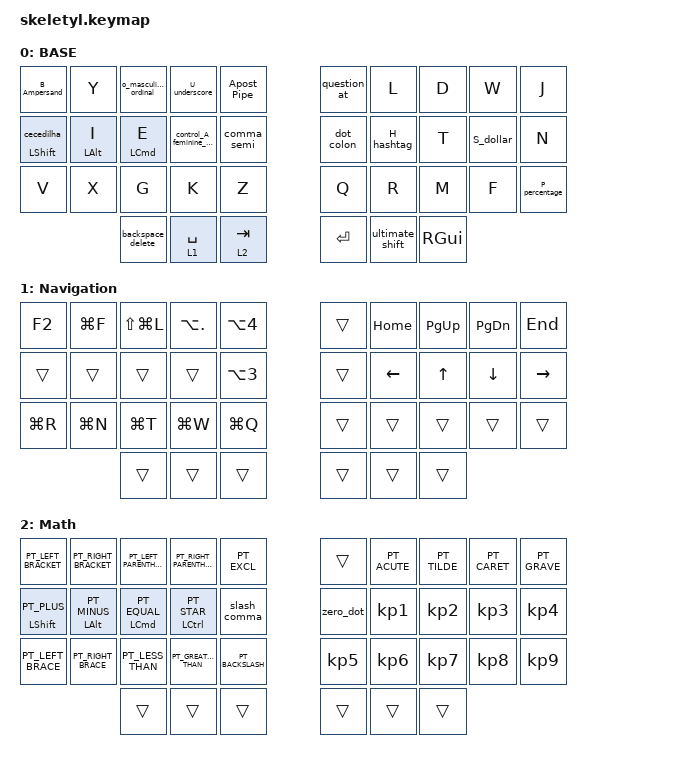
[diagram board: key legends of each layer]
#include "keys_pt_abnt2.h"
#include <behaviors.dtsi>
#include <dt-bindings/zmk/keys.h>

&sk {
    release-after-ms = <1500>;
    quick-release;
};

/ {
    behaviors {
        hm: homerow_mods {
            compatible = "zmk,behavior-hold-tap";
            label = "HOMEROW_MODS";
            #binding-cells = <2>;
            tapping-term-ms = <280>;
            quick_tap_ms = <0>;
            flavor = "balanced";
            bindings = <&kp>, <&kp>;

            quick-tap-ms = <175>;
            require-prior-idle-ms = <150>;
            hold-trigger-key-positions = <20 10 30 31 32 5 6 7 8 9 15 16 17 18 19 25 26 27 28 29 33 34 35>;
            hold-trigger-on-release;
        };

        cecedilha: cecedilha {
            compatible = "zmk,behavior-mod-morph";
            label = "CECEDILHA";
            bindings = <&kp C>, <&kp PT_C_CEDILLA>;

            #binding-cells = <0>;
            mods = <(MOD_LALT)>;
        };

        question_at: question_at {
            compatible = "zmk,behavior-mod-morph";
            label = "QUESTION_AT";
            bindings = <&kp PT_QUESTION>, <&kp PT_AT>;

            #binding-cells = <0>;
            mods = <(MOD_LSFT|MOD_RSFT)>;
        };

        dot_colon: dot_colon {
            compatible = "zmk,behavior-mod-morph";
            label = "DOT_COLON";
            bindings = <&kp PT_DOT>, <&kp PT_COLON>;

            #binding-cells = <0>;
            mods = <(MOD_LSFT|MOD_RSFT)>;
        };

        o_masculine_ordinal: o_masculine_ordinal {
            compatible = "zmk,behavior-mod-morph";
            label = "O_MASCULINE_ORDINAL";
            bindings = <&kp PT_O>, <&kp PT_MASCULINE_ORDINAL_INDICATOR>;

            #binding-cells = <0>;
            mods = <(MOD_LALT)>;
        };

        control_A_feminine_ordinal: control_A_feminine_ordinal {
            compatible = "zmk,behavior-mod-morph";
            label = "CONTROL_A_FEMININE_ORDINAL";
            bindings =
                <&hm LEFT_CONTROL PT_A>,
                <&kp PT_FEMININE_ORDINAL_INDICATOR>;

            #binding-cells = <0>;
            mods = <(MOD_LALT)>;
        };

        backspace_delete: backspace_delete {
            compatible = "zmk,behavior-mod-morph";
            label = "BACKSPACE_DELETE";
            bindings = <&kp BACKSPACE>, <&kp DELETE>;

            #binding-cells = <0>;
            mods = <(MOD_LCTL)>;
        };

        comma_semi: comma_semi {
            compatible = "zmk,behavior-mod-morph";
            label = "COMMA_SEMI";
            bindings = <&kp PT_COMMA>, <&kp PT_SEMICOLON>;

            #binding-cells = <0>;
            mods = <(MOD_LSFT|MOD_RSFT)>;
        };

        P_percentage: P_percentage {
            compatible = "zmk,behavior-mod-morph";
            label = "P_PERCENTAGE";
            bindings = <&kp P>, <&kp PT_PERCENT>;

            #binding-cells = <0>;
            mods = <(MOD_LALT)>;
        };

        B_Ampersand: B_Ampersand {
            compatible = "zmk,behavior-mod-morph";
            label = "B_AMPERSAND";
            bindings = <&kp B>, <&kp PT_AMPERSAND>;

            #binding-cells = <0>;
            mods = <(MOD_LALT)>;
        };

        U_underscore: U_underscore {
            compatible = "zmk,behavior-mod-morph";
            label = "U_UNDERSCORE";
            bindings = <&kp U>, <&kp PT_UNDERSCORE>;

            #binding-cells = <0>;
            mods = <(MOD_LALT)>;
        };

        shift_C_Cecedilha: shift_C_Cecedilha {
            compatible = "zmk,behavior-hold-tap";
            label = "SHIFT_C_CECEDILHA";
            bindings = <&kp>, <&cecedilha>;

            #binding-cells = <2>;
            tapping-term-ms = <280>;
            quick-tap-ms = <175>;
            require-prior-idle-ms = <150>;
            flavor = "balanced";
            hold-trigger-key-positions = <5 6 7 8 9 15 16 17 18 19 25 26 27 28 29 33 34 35>;
            hold-trigger-on-release;
        };

        ultimate_shift: ultimate_shift {
            compatible = "zmk,behavior-tap-dance";
            label = "ULTIMATE_SHIFT";
            #binding-cells = <0>;
            tapping-term-ms = <180>;
            bindings = <&sk LEFT_SHIFT>, <&caps_word>, <&kp CAPSLOCK>;
        };

        H_hashtag: H_hashtag {
            compatible = "zmk,behavior-mod-morph";
            label = "H_HASHTAG";
            bindings = <&kp H>, <&kp PT_HASH>;

            #binding-cells = <0>;
            mods = <(MOD_LALT)>;
        };

        S_dollar: S_dollar {
            compatible = "zmk,behavior-mod-morph";
            label = "S_DOLLAR";
            bindings = <&kp S>, <&kp PT_DOLLAR>;

            #binding-cells = <0>;
            mods = <(MOD_LALT)>;
        };

        Apost_Pipe: Apost_Pipe {
            compatible = "zmk,behavior-mod-morph";
            label = "APOST_PIPE";
            bindings = <&kp PT_APOS>, <&kp PT_PIPE>;

            #binding-cells = <0>;
            mods = <(MOD_LALT)>;
        };

        slash_comma: slash_comma {
            compatible = "zmk,behavior-mod-morph";
            label = "SLASH_COMMA";
            bindings = <&kp KP_SLASH>, <&kp KP_COMMA>;

            #binding-cells = <0>;
            mods = <(MOD_LSFT|MOD_RSFT)>;
        };

        zero_dot: zero_dot {
            compatible = "zmk,behavior-mod-morph";
            label = "ZERO_DOT";
            bindings = <&kp KP_NUMBER_0>, <&kp KP_DOT>;

            #binding-cells = <0>;
            mods = <(MOD_LSFT|MOD_RSFT)>;
        };
    };

    conditional_layers { compatible = "zmk,conditional-layers"; };

    combos {
        compatible = "zmk,combos";

        esc {
            bindings = <&kp ESC>;
            key-positions = <21 20>;
            layers = <0>;
        };

        enter {
            bindings = <&kp ENTER>;
            key-positions = <23 24>;
            layers = <0>;
        };

        to_layer1 {
            bindings = <&to 1>;
            key-positions = <31 33>;
            layers = <0>;
        };

        to_layer2 {
            bindings = <&to 2>;
            key-positions = <33 32>;
            layers = <0>;
        };

        back_to_base1 {
            bindings = <&to 0>;
            key-positions = <31 33>;
            layers = <1>;
        };

        back_to_base2 {
            bindings = <&to 0>;
            key-positions = <33 32>;
            layers = <2>;
        };

        ksc_the {
            bindings = <&m_ksc_the>;
            key-positions = <17 16 12>;
            layers = <0>;
        };

        ksc_the_space {
            bindings = <&m_ksc_the_space>;
            key-positions = <17 16 12 31>;
            layers = <0>;
        };

        ksc_ing {
            bindings = <&m_ksc_ing>;
            key-positions = <11 19 22>;
            layers = <0>;
        };

        ksc_th {
            bindings = <&m_ksc_th>;
            key-positions = <17 16>;
            layers = <0>;
        };

        ksc_ou {
            bindings = <&m_ksc_ou>;
            key-positions = <2 3>;
            layers = <0>;
        };

        ksc_gh {
            bindings = <&m_ksc_gh>;
            key-positions = <22 16>;
            layers = <0>;
        };

        ksc_wh {
            bindings = <&m_ksc_wh>;
            key-positions = <16 8>;
            layers = <0>;
        };

        ksc_sh {
            bindings = <&m_ksc_sh>;
            key-positions = <16 18>;
            layers = <0>;
        };

        ksc_men {
            bindings = <&m_ksc_men>;
            key-positions = <18 27 12>;
            layers = <0>;
        };

        ksc_ould {
            bindings = <&m_ksc_ould>;
            key-positions = <2 3 6 7>;
            layers = <0>;
        };

        ksc_ight {
            bindings = <&m_ksc_ight>;
            key-positions = <11 22 16 17>;
            layers = <0>;
        };

        ksc_with {
            bindings = <&m_ksc_with>;
            key-positions = <11 16 17 8>;
            layers = <0>;
        };

        ksc_atio {
            bindings = <&m_ksc_atio>;
            key-positions = <11 17 13 2>;
            layers = <0>;
        };

        ksc_tion {
            bindings = <&m_ksc_tion>;
            key-positions = <11 17 2 19>;
            layers = <0>;
        };

        ksc_ent {
            bindings = <&m_ksc_ent>;
            key-positions = <17 19 12>;
            layers = <0>;
        };

        ksc_and {
            bindings = <&m_ksc_and>;
            key-positions = <19 13 7>;
            layers = <0>;
        };

        ksc_st {
            bindings = <&m_ksc_st>;
            key-positions = <18 17>;
            layers = <0>;
        };

        ksc_in {
            bindings = <&m_ksc_in>;
            key-positions = <11 19>;
            layers = <0>;
        };

        ksc_enc {
            bindings = <&m_ksc_enc>;
            key-positions = <19 12 10>;
            layers = <0>;
        };

        ksc_for {
            bindings = <&m_ksc_for>;
            key-positions = <26 28 2>;
            layers = <0>;
        };

        ksc_tha {
            bindings = <&m_ksc_tha>;
            key-positions = <17 16 13>;
            layers = <0>;
        };

        ksc_thi {
            bindings = <&m_ksc_thi>;
            key-positions = <17 16 11>;
            layers = <0>;
        };

        ksc_ter {
            bindings = <&m_ksc_ter>;
            key-positions = <17 26 12>;
            layers = <0>;
        };

        ksc_ld {
            bindings = <&m_ksc_ld>;
            key-positions = <6 7>;
            layers = <0>;
        };

        ksc_download {
            bindings = <&m_ksc_download>;
            key-positions = <19 6 7 8>;
            layers = <0>;
        };

        ksc_cao {
            bindings = <&m_skc_cao>;
            key-positions = <10 2 13 11>;
            layers = <0>;
        };

        ksc_coes {
            bindings = <&m_ksc_coes>;
            key-positions = <10 11 2 18>;
            layers = <0>;
        };

        ksc_nao {
            bindings = <&m_ksc_nao>;
            key-positions = <2 19 13>;
            layers = <0>;
        };

        ksc_que {
            bindings = <&m_ksc_que>;
            key-positions = <25 12>;
            layers = <0>;
        };

        ksc_qua {
            bindings = <&m_ks_qua>;
            key-positions = <25 13>;
            layers = <0>;
        };

        ksc_qui {
            bindings = <&m_ksc_qui>;
            key-positions = <25 11>;
            layers = <0>;
        };

        ksc_you {
            bindings = <&m_ksc_you>;
            key-positions = <1 2 3>;
            layers = <0>;
        };

        ksc_ion {
            bindings = <&m_ksc_ion>;
            key-positions = <11 2 18>;
        };

        ksc_ions {
            bindings = <&m_ksc_ions>;
            key-positions = <11 2 18 19>;
        };

        ksc_your {
            bindings = <&m_ksc_your>;
            key-positions = <2 1 3 26>;
        };

        ksc_then {
            bindings = <&m_ksc_then>;
            key-positions = <17 16 12 19>;
        };

        ksc_than {
            bindings = <&m_ksc_than>;
            key-positions = <17 16 19 13>;
        };

        ksc_encia {
            bindings = <&m_ksc_encia>;
            key-positions = <19 13 10 11 12>;
        };

        ksc_nt {
            bindings = <&m_ksc_nt>;
            key-positions = <19 17>;
        };

        ksc_ings {
            bindings = <&m_ksc_ings>;
            key-positions = <11 19 22 18>;
            layers = <0>;
        };

        ksc_ch {
            bindings = <&m_ksc_ch>;
            key-positions = <10 16>;
            layers = <0>;
        };

        ksc_cha {
            bindings = <&m_ksc_cha>;
            key-positions = <10 16 13>;
            layers = <0>;
        };

        ksc_che {
            bindings = <&m_ksc_che>;
            key-positions = <10 16 12>;
            layers = <0>;
        };

        ksc_chi {
            bindings = <&m_ksc_chi>;
            key-positions = <10 16 11>;
            layers = <0>;
        };

        ksc_cho {
            bindings = <&m_ksc_cho>;
            key-positions = <10 16 2>;
            layers = <0>;
        };

        ksc_chu {
            bindings = <&m_ksc_chu>;
            key-positions = <10 16 3>;
            layers = <0>;
        };

        ksc_ph {
            bindings = <&m_ksc_ph>;
            key-positions = <16 29>;
            layers = <0>;
        };

        ksc_pha {
            bindings = <&m_ksc_pha>;
            key-positions = <16 29 13>;
            layers = <0>;
        };

        ksc_phe {
            bindings = <&m_ksc_phe>;
            key-positions = <16 29 12>;
            layers = <0>;
        };

        ksc_phi {
            bindings = <&m_ksc_phi>;
            key-positions = <16 29 11>;
            layers = <0>;
        };

        ksc_pho {
            bindings = <&m_ksc_pho>;
            key-positions = <16 29 2>;
            layers = <0>;
        };

        ksc_phy {
            bindings = <&m_ksc_phy>;
            key-positions = <16 29 1>;
            layers = <0>;
        };

        ksc_ck {
            bindings = <&m_ksc_ck>;
            key-positions = <10 23>;
            layers = <0>;
        };

        ksc_less {
            bindings = <&m_ksc_less>;
            key-positions = <6 12 17>;
            layers = <0>;
        };

        ksc_ng {
            bindings = <&m_ksc_ng>;
            key-positions = <18 22>;
            layers = <0>;
        };

        ksc_stra {
            bindings = <&m_ksc_stra>;
            key-positions = <18 17 26 13>;
            layers = <0>;
        };

        ksc_stre {
            bindings = <&m_ksc_stre>;
            key-positions = <18 17 26 12>;
            layers = <0>;
        };

        ksc_stri {
            bindings = <&m_ksc_stri>;
            key-positions = <18 17 26 11>;
            layers = <0>;
        };

        ksc_stro {
            bindings = <&m_ksc_stro>;
            key-positions = <18 17 26 2>;
            layers = <0>;
        };

        ksc_stru {
            bindings = <&m_ksc_stru>;
            key-positions = <18 17 26 3>;
            layers = <0>;
        };

        ksc_tions {
            bindings = <&m_ksc_tions>;
            key-positions = <11 17 2 19 18>;
            layers = <0>;
        };

        ksc_thing {
            bindings = <&m_ksc_thing>;
            key-positions = <11 17 22 16 19>;
            layers = <0>;
        };

        ksc_things {
            bindings = <&m_ksc_things>;
            key-positions = <11 17 22 16 19 18>;
            layers = <0>;
        };

        ksc_tive {
            bindings = <&m_ksc_tive>;
            key-positions = <11 17 20 12>;
            layers = <0>;
        };

        ksc_tives {
            bindings = <&m_ksc_tives>;
            key-positions = <11 17 20 12 18>;
            layers = <0>;
        };

        ksc_ssive {
            bindings = <&m_ksc_ssive>;
            key-positions = <11 20 12 18>;
            layers = <0>;
        };

        ksc_scra {
            bindings = <&m_ksc_scra>;
            key-positions = <18 10 13 26>;
            layers = <0>;
        };

        ksc_scre {
            bindings = <&m_ksc_scre>;
            key-positions = <18 10 26 12>;
            layers = <0>;
        };

        ksc_scri {
            bindings = <&m_ksc_scri>;
            key-positions = <18 10 26 11>;
            layers = <0>;
        };

        ksc_scro {
            bindings = <&m_ksc_scro>;
            key-positions = <18 10 26 2>;
            layers = <0>;
        };

        ksc_scru {
            bindings = <&m_ksc_scru>;
            key-positions = <18 10 26 3>;
            layers = <0>;
        };

        ksc_inho {
            bindings = <&m_ksc_inho>;
            key-positions = <16 2 11 19>;
            layers = <0>;
        };

        ksc_inha {
            bindings = <&m_ksc_inha>;
            key-positions = <16 11 19 13>;
            layers = <0>;
        };

        ksc_inhos {
            bindings = <&m_ksc_inhos>;
            key-positions = <16 2 11 19 18>;
            layers = <0>;
        };

        ksc_inhas {
            bindings = <&m_ksc_inhas>;
            key-positions = <16 11 19 18 13>;
            layers = <0>;
        };
    };

    macros {
        m_ksc_the: m_ksc_the {
            compatible = "zmk,behavior-macro";
            #binding-cells = <0>;
            bindings = <&kp T &kp H &kp E>;
            label = "M_KSC_THE";
        };

        m_ksc_the_space: m_ksc_the_space {
            compatible = "zmk,behavior-macro";
            #binding-cells = <0>;
            bindings = <&kp T &kp H &kp E &kp SPACE>;
            label = "M_KSC_THE_SPACE";
        };

        m_ksc_ing: m_ksc_ing_space {
            compatible = "zmk,behavior-macro";
            #binding-cells = <0>;
            bindings = <&kp I &kp N &kp G &kp SPACE>;
            label = "M_KSC_ING_SPACE";
        };

        m_ksc_th: m_ksc_th {
            compatible = "zmk,behavior-macro";
            #binding-cells = <0>;
            bindings = <&kp T &kp H>;
            label = "M_KSC_TH";
        };

        m_ksc_ou: m_ksc_ou {
            compatible = "zmk,behavior-macro";
            #binding-cells = <0>;
            bindings = <&kp O &kp U>;
            label = "M_KSC_OU";
        };

        m_ksc_gh: m_ksc_gh {
            compatible = "zmk,behavior-macro";
            #binding-cells = <0>;
            bindings = <&kp G &kp H>;
            label = "M_KSC_GH";
        };

        m_ksc_wh: m_ksc_wh {
            compatible = "zmk,behavior-macro";
            #binding-cells = <0>;
            bindings = <&kp W &kp H>;
            label = "M_KSC_WH";
        };

        m_ksc_sh: m_ksc_sh {
            compatible = "zmk,behavior-macro";
            #binding-cells = <0>;
            bindings = <&kp S &kp H>;
            label = "M_KSC_SH";
        };

        m_ksc_men: m_ksc_men {
            compatible = "zmk,behavior-macro";
            #binding-cells = <0>;
            bindings = <&kp M &kp E &kp N>;
            label = "M_KSC_MEN";
        };

        m_ksc_ould: m_ksc_ould {
            compatible = "zmk,behavior-macro";
            #binding-cells = <0>;
            bindings = <&kp O &kp U &kp L &kp D &kp SPACE>;
            label = "M_KSC_OULD";
        };

        m_ksc_ight: m_ksc_ight {
            compatible = "zmk,behavior-macro";
            #binding-cells = <0>;
            bindings = <&kp I &kp G &kp H &kp T &kp SPACE>;
            label = "M_KSC_IGHT";
        };

        m_ksc_with: m_ksc_with {
            compatible = "zmk,behavior-macro";
            #binding-cells = <0>;
            bindings = <&kp W &kp I &kp T &kp H>;
            label = "M_KSC_WITH";
        };

        m_ksc_atio: m_ksc_atio {
            compatible = "zmk,behavior-macro";
            #binding-cells = <0>;
            bindings = <&kp A &kp T &kp I &kp O>;
            label = "M_KSC_ATIO";
        };

        m_ksc_tion: m_ksc_tion {
            compatible = "zmk,behavior-macro";
            #binding-cells = <0>;
            bindings = <&kp T &kp I &kp O &kp N &kp SPACE>;
            label = "M_KSC_TION";
        };

        m_ksc_ent: m_ksc_ent {
            compatible = "zmk,behavior-macro";
            #binding-cells = <0>;
            bindings = <&kp E &kp N &kp T>;
            label = "M_KSC_ENT";
        };

        m_ksc_and: m_ksc_and {
            compatible = "zmk,behavior-macro";
            #binding-cells = <0>;
            bindings = <&kp A &kp N &kp D &kp SPACE>;
            label = "M_KSC_AND";
        };

        m_ksc_st: m_ksc_st {
            compatible = "zmk,behavior-macro";
            #binding-cells = <0>;
            bindings = <&kp S &kp T>;
            label = "M_KSC_ST";
        };

        m_ksc_in: m_ksc_in {
            compatible = "zmk,behavior-macro";
            #binding-cells = <0>;
            bindings = <&kp I &kp N>;
            label = "M_KSC_IN";
        };

        m_ksc_enc: m_ksc_enc {
            compatible = "zmk,behavior-macro";
            #binding-cells = <0>;
            bindings = <&kp E &kp N &kp C>;
            label = "M_KSC_ENC";
        };

        m_ksc_for: m_ksc_for {
            compatible = "zmk,behavior-macro";
            #binding-cells = <0>;
            bindings = <&kp F &kp O &kp R>;
            label = "M_KSC_FOR";
        };

        m_ksc_tha: m_ksc_tha {
            compatible = "zmk,behavior-macro";
            #binding-cells = <0>;
            bindings = <&kp T &kp H &kp A>;
            label = "M_KSC_THA";
        };

        m_ksc_thi: m_ksc_thi {
            compatible = "zmk,behavior-macro";
            #binding-cells = <0>;
            bindings = <&kp T &kp H &kp I>;
            label = "M_KSC_THI";
        };

        m_ksc_ter: m_ksc_ter {
            compatible = "zmk,behavior-macro";
            #binding-cells = <0>;
            bindings = <&kp T &kp E &kp R>;
            label = "M_KSC_TER";
        };

        m_ksc_ld: m_ksc_ld {
            compatible = "zmk,behavior-macro";
            #binding-cells = <0>;
            bindings = <&kp L &kp D>;
            label = "M_KSC_LD";
        };

        m_ksc_download: m_ksc_download {
            compatible = "zmk,behavior-macro";
            #binding-cells = <0>;
            bindings = <&kp D &kp O &kp W &kp N &kp L &kp O &kp A &kp D &kp SPACE>;
            label = "M_KSC_DOWNLOAD";
        };

        m_skc_cao: m_skc_cao {
            compatible = "zmk,behavior-macro";
            #binding-cells = <0>;
            bindings = <&kp PT_C_CEDILLA &kp A &kp O &kp SPACE>;
            label = "M_SKC_CAO";
        };

        m_ksc_coes: m_ksc_coes {
            compatible = "zmk,behavior-macro";
            #binding-cells = <0>;
            bindings = <&kp PT_C_CEDILLA &kp O &kp E &kp S &kp SPACE>;
            label = "M_KSC_COES";
        };

        m_ksc_nao: m_ksc_nao {
            compatible = "zmk,behavior-macro";
            #binding-cells = <0>;
            bindings = <&kp N &kp A &kp O &kp SPACE>;
            label = "M_KSC_NAO";
        };

        m_ksc_que: m_ksc_que {
            compatible = "zmk,behavior-macro";
            #binding-cells = <0>;
            bindings = <&kp Q &kp U &kp E>;
            label = "M_KSC_QUE";
        };

        m_ks_qua: m_ks_qu {
            compatible = "zmk,behavior-macro";
            #binding-cells = <0>;
            bindings = <&kp Q &kp U &kp A>;
            label = "M_KS_QU";
        };

        m_ksc_qui: m_ksc_qui {
            compatible = "zmk,behavior-macro";
            #binding-cells = <0>;
            bindings = <&kp Q &kp U &kp I>;
            label = "M_KSC_QUI";
        };

        m_ksc_you: m_ksc_you {
            compatible = "zmk,behavior-macro";
            #binding-cells = <0>;
            bindings = <&kp Y &kp O &kp U &kp SPACE>;
            label = "M_KSC_YOU";
        };

        m_ksc_ions: m_ksc_ions {
            compatible = "zmk,behavior-macro";
            #binding-cells = <0>;
            bindings = <&kp I &kp O &kp N &kp S &kp SPACE>;
            label = "M_KSC_IONS";
        };

        m_ksc_ion: m_ksc_ion {
            compatible = "zmk,behavior-macro";
            #binding-cells = <0>;
            bindings = <&kp I &kp O &kp N &kp SPACE>;
            label = "M_KSC_ION";
        };

        m_ksc_your: m_ksc_your {
            compatible = "zmk,behavior-macro";
            #binding-cells = <0>;
            bindings = <&kp Y &kp O &kp U &kp R &kp SPACE>;
            label = "M_KSC_YOUR";
        };

        m_ksc_then: m_ksc_then {
            compatible = "zmk,behavior-macro";
            #binding-cells = <0>;
            bindings = <&kp T &kp H &kp E &kp N &kp SPACE>;
            label = "M_KSC_THEN";
        };

        m_ksc_than: m_ksc_than {
            compatible = "zmk,behavior-macro";
            #binding-cells = <0>;
            bindings = <&kp T &kp H &kp A &kp N &kp SPACE>;
            label = "M_KSC_THAN";
        };

        m_ksc_encia: m_ksc_encia {
            compatible = "zmk,behavior-macro";
            #binding-cells = <0>;
            bindings = <&kp E &kp N &kp C &kp I &kp A &kp SPACE>;
            label = "M_KSC_ENCIA";
        };

        m_ksc_nt: m_ksc_nt {
            compatible = "zmk,behavior-macro";
            #binding-cells = <0>;
            bindings = <&kp N &kp T>;
            label = "M_KSC_NT";
        };

        m_ksc_ings: m_ksc_ings {
            compatible = "zmk,behavior-macro";
            #binding-cells = <0>;
            bindings = <&kp I &kp N &kp G &kp S &kp SPACE>;
            label = "M_KSC_INGS";
        };

        m_ksc_ch: m_ksc_ch {
            compatible = "zmk,behavior-macro";
            #binding-cells = <0>;
            bindings = <&kp C &kp H>;
            label = "M_KSC_CH";
        };

        m_ksc_ph: m_ksc_ph {
            compatible = "zmk,behavior-macro";
            #binding-cells = <0>;
            bindings = <&kp P &kp H>;
            label = "M_KSC_PH";
        };

        m_ksc_ck: m_ksc_ck {
            compatible = "zmk,behavior-macro";
            #binding-cells = <0>;
            bindings = <&kp C &kp K &kp SPACE>;
            label = "M_KSC_CK";
        };

        m_ksc_less: m_ksc_less {
            compatible = "zmk,behavior-macro";
            #binding-cells = <0>;
            bindings = <&kp L &kp E &kp S &kp S &kp SPACE>;
            label = "M_KSC_LESS";
        };

        m_ksc_stra: m_ksc_stra {
            compatible = "zmk,behavior-macro";
            #binding-cells = <0>;
            bindings = <&kp S &kp T &kp R &kp A>;
            label = "M_KSC_STRA";
        };

        m_ksc_ng: m_ksc_ng {
            compatible = "zmk,behavior-macro";
            #binding-cells = <0>;
            bindings = <&kp N &kp G &kp SPACE>;
            label = "M_KSC_NG";
        };

        m_ksc_stre: m_ksc_stre {
            compatible = "zmk,behavior-macro";
            #binding-cells = <0>;
            bindings = <&kp S &kp T &kp R &kp E>;
            label = "M_KSC_STRE";
        };

        m_ksc_stri: m_ksc_stri {
            compatible = "zmk,behavior-macro";
            #binding-cells = <0>;
            bindings = <&kp S &kp T &kp R &kp I>;
            label = "M_KSC_STRI";
        };

        m_ksc_stro: m_ksc_stro {
            compatible = "zmk,behavior-macro";
            #binding-cells = <0>;
            bindings = <&kp S &kp T &kp R &kp O>;
            label = "M_KSC_STRO";
        };

        m_ksc_stru: m_ksc_stru {
            compatible = "zmk,behavior-macro";
            #binding-cells = <0>;
            bindings = <&kp S &kp T &kp R &kp U>;
            label = "M_KSC_STRU";
        };

        m_ksc_tions: m_ksc_tions {
            compatible = "zmk,behavior-macro";
            #binding-cells = <0>;
            bindings = <&kp T &kp I &kp O &kp N &kp S &kp SPACE>;
            label = "M_KSC_TIONS";
        };

        m_ksc_thing: m_ksc_thing {
            compatible = "zmk,behavior-macro";
            #binding-cells = <0>;
            bindings = <&kp T &kp H &kp I &kp N &kp G &kp SPACE>;
            label = "M_KSC_THING";
        };

        m_ksc_things: m_ksc_things {
            compatible = "zmk,behavior-macro";
            #binding-cells = <0>;
            bindings = <&kp T &kp H &kp I &kp N &kp G &kp S &kp SPACE>;
            label = "M_KSC_THINGS";
        };

        m_ksc_tive: m_ksc_tive {
            compatible = "zmk,behavior-macro";
            #binding-cells = <0>;
            bindings = <&kp T &kp I &kp V &kp E &kp SPACE>;
            label = "M_KSC_TIVE";
        };

        m_ksc_tives: m_ksc_tives {
            compatible = "zmk,behavior-macro";
            #binding-cells = <0>;
            bindings = <&kp T &kp I &kp V &kp E &kp S &kp SPACE>;
            label = "M_KSC_TIVES";
        };

        m_ksc_ssive: m_ksc_sive {
            compatible = "zmk,behavior-macro";
            #binding-cells = <0>;
            bindings = <&kp S &kp S &kp I &kp V &kp E &kp SPACE>;
            label = "M_KSC_SIVE";
        };

        m_ksc_scra: m_ksc_scra {
            compatible = "zmk,behavior-macro";
            #binding-cells = <0>;
            bindings = <&kp S &kp C &kp R &kp A>;
            label = "M_KSC_SCRA";
        };

        m_ksc_scre: m_ksc_scre {
            compatible = "zmk,behavior-macro";
            #binding-cells = <0>;
            bindings = <&kp S &kp C &kp R &kp E>;
            label = "M_KSC_SCRE";
        };

        m_ksc_scri: m_ksc_scri {
            compatible = "zmk,behavior-macro";
            #binding-cells = <0>;
            bindings = <&kp S &kp C &kp R &kp I>;
            label = "M_KSC_SCRI";
        };

        m_ksc_scro: m_ksc_scro {
            compatible = "zmk,behavior-macro";
            #binding-cells = <0>;
            bindings = <&kp S &kp C &kp R &kp O>;
            label = "M_KSC_SCRO";
        };

        m_ksc_scru: m_ksc_scru {
            compatible = "zmk,behavior-macro";
            #binding-cells = <0>;
            bindings = <&kp S &kp C &kp R &kp U>;
            label = "M_KSC_SCRU";
        };

        m_ksc_cha: m_ksc_cha {
            compatible = "zmk,behavior-macro";
            #binding-cells = <0>;
            bindings = <&kp C &kp H &kp A>;
            label = "M_KSC_CHA";
        };

        m_ksc_che: m_ksc_che {
            compatible = "zmk,behavior-macro";
            #binding-cells = <0>;
            bindings = <&kp C &kp H &kp E>;
            label = "M_KSC_CHE";
        };

        m_ksc_chi: m_ksc_chi {
            compatible = "zmk,behavior-macro";
            #binding-cells = <0>;
            bindings = <&kp C &kp H &kp I>;
            label = "M_KSC_CHI";
        };

        m_ksc_cho: m_ksc_cho {
            compatible = "zmk,behavior-macro";
            #binding-cells = <0>;
            bindings = <&kp C &kp H &kp O>;
            label = "M_KSC_CHO";
        };

        m_ksc_chu: m_chu {
            compatible = "zmk,behavior-macro";
            #binding-cells = <0>;
            bindings = <&kp C &kp H &kp U>;
            label = "M_CHU";
        };

        m_ksc_pha: m_ksc_pha {
            compatible = "zmk,behavior-macro";
            #binding-cells = <0>;
            bindings = <&kp P &kp H &kp A>;
            label = "M_KSC_PHA";
        };

        m_ksc_phe: m_ksc_phe {
            compatible = "zmk,behavior-macro";
            #binding-cells = <0>;
            bindings = <&kp P &kp H &kp E>;
            label = "M_KSC_PHE";
        };

        m_ksc_phi: m_ksc_phi {
            compatible = "zmk,behavior-macro";
            #binding-cells = <0>;
            bindings = <&kp P &kp H &kp I>;
            label = "M_KSC_PHI";
        };

        m_ksc_phy: m_ksc_phy {
            compatible = "zmk,behavior-macro";
            #binding-cells = <0>;
            bindings = <&kp P &kp H &kp Y>;
            label = "M_KSC_PHY";
        };

        m_ksc_pho: m_ksc_pho {
            compatible = "zmk,behavior-macro";
            #binding-cells = <0>;
            bindings = <&kp P &kp H &kp O>;
            label = "M_KSC_PHO";
        };

        m_ksc_inho: m_ksc_inho {
            compatible = "zmk,behavior-macro";
            #binding-cells = <0>;
            bindings = <&kp I &kp N &kp H &kp O &kp SPACE>;
            label = "M_KSC_INHO";
        };

        m_ksc_inhos: m_ksc_inhos {
            compatible = "zmk,behavior-macro";
            #binding-cells = <0>;
            bindings = <&kp I &kp N &kp H &kp O &kp S &kp SPACE>;
            label = "M_KSC_INHOS";
        };

        m_ksc_inha: m_ksc_inha {
            compatible = "zmk,behavior-macro";
            #binding-cells = <0>;
            bindings = <&kp I &kp N &kp H &kp A &kp SPACE>;
            label = "M_KSC_INHA";
        };

        m_ksc_inhas: m_ksc_inhas {
            compatible = "zmk,behavior-macro";
            #binding-cells = <0>;
            bindings = <&kp I &kp N &kp H &kp A &kp S &kp SPACE>;
            label = "M_KSC_INHAS";
        };
    };

    keymap {
        compatible = "zmk,keymap";

        BASE {
            bindings = <
&B_Ampersand                     &kp Y           &o_masculine_ordinal  &U_underscore                &Apost_Pipe    &question_at  &kp L            &kp D     &kp W      &kp J
&shift_C_Cecedilha LEFT_SHIFT 0  &hm LEFT_ALT I  &hm LEFT_COMMAND E    &control_A_feminine_ordinal  &comma_semi    &dot_colon    &H_hashtag       &kp T     &S_dollar  &kp N
&kp V                            &kp X           &kp G                 &kp K                        &kp Z          &kp Q         &kp R            &kp M     &kp F      &P_percentage
                                                 &backspace_delete     &lt 1 SPACE                  &lt 2 TAB      &kp ENTER     &ultimate_shift  &kp RGUI
            >;

            label = "BASE";
        };

        Navigation {
            bindings = <
&kp F2     &kp LG(F)  &kp LS(LG(L))  &kp LA(DOT)  &kp LA(N4)    &trans  &kp HOME  &kp PG_UP  &kp PG_DN  &kp END
&trans     &trans     &trans         &trans       &kp LA(N3)    &trans  &kp LEFT  &kp UP     &kp DOWN   &kp RIGHT
&kp LG(R)  &kp LG(N)  &kp LG(T)      &kp LG(W)    &kp LG(Q)     &trans  &trans    &trans     &trans     &trans
                      &trans         &trans       &trans        &trans  &trans    &trans
            >;
        };

        Math {
            bindings = <
&kp PT_LEFT_BRACKET     &kp PT_RIGHT_BRACKET   &kp PT_LEFT_PARENTHESIS    &kp PT_RIGHT_PARENTHESIS  &kp PT_EXCL         &trans     &kp PT_ACUTE  &kp PT_TILDE  &kp PT_CARET  &kp PT_GRAVE
&hm LEFT_SHIFT PT_PLUS  &hm LEFT_ALT PT_MINUS  &hm LEFT_COMMAND PT_EQUAL  &hm LEFT_CONTROL PT_STAR  &slash_comma        &zero_dot  &kp KP_N1     &kp KP_N2     &kp KP_N3     &kp KP_N4
&kp PT_LEFT_BRACE       &kp PT_RIGHT_BRACE     &kp PT_LESS_THAN           &kp PT_GREATER_THAN       &kp PT_BACKSLASH    &kp KP_N5  &kp KP_N6     &kp KP_N7     &kp KP_N8     &kp KP_N9
                                               &trans                     &trans                    &trans              &trans     &trans        &trans
            >;
        };
    };
};
